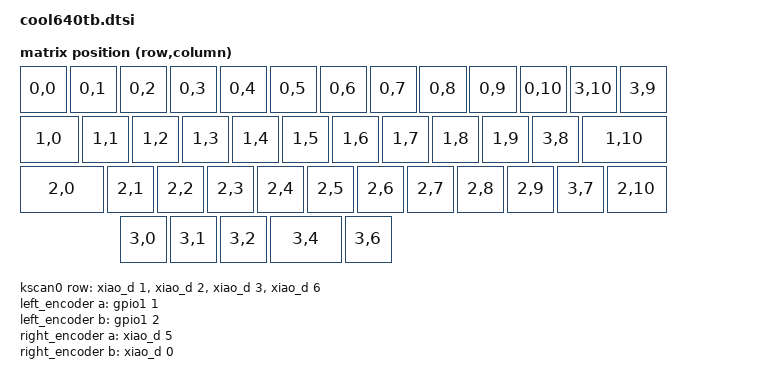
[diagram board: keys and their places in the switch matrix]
#include <dt-bindings/zmk/matrix_transform.h>
#include <physical_layouts.dtsi>

/ {
    chosen {
        zmk,kscan = &kscan0;
        zmk,matrix_transform = &default_transform;
    };
/ {
    chosen {
        zmk,physical-layout = &cool942tb_physical_layout;
    };
    
    cool942tb_physical_layout: cool942tb_physical_layout {
        compatible = "zmk,physical-layout";
        display-name = "Default";
        transform = <&default_transform>;
        kscan = <&kscan0>;

        keys  //                     w   h    x    y     rot    rx    ry
            = <&key_physical_attrs 100 100    0    0       0     0     0>
            , <&key_physical_attrs 100 100  100    0       0     0     0>
            , <&key_physical_attrs 100 100  200    0       0     0     0>
            , <&key_physical_attrs 100 100  300    0       0     0     0>
            , <&key_physical_attrs 100 100  400    0       0     0     0>
            , <&key_physical_attrs 100 100  500    0       0     0     0>

            , <&key_physical_attrs 100 100  600    0       0     0     0>
            , <&key_physical_attrs 100 100  700    0       0     0     0>
            , <&key_physical_attrs 100 100  800    0       0     0     0>
            , <&key_physical_attrs 100 100  900    0       0     0     0>
            , <&key_physical_attrs 100 100 1000    0       0     0     0>
            , <&key_physical_attrs 100 100 1100    0       0     0     0>
            , <&key_physical_attrs 100 100 1200    0       0     0     0>

            , <&key_physical_attrs 125 100    0    100     0     0     0>
            , <&key_physical_attrs 100 100  125    100     0     0     0>
            , <&key_physical_attrs 100 100  225    100     0     0     0>
            , <&key_physical_attrs 100 100  325    100     0     0     0>
            , <&key_physical_attrs 100 100  425    100     0     0     0>
            , <&key_physical_attrs 100 100  525    100     0     0     0>
            , <&key_physical_attrs 100 100  625    100     0     0     0>
            , <&key_physical_attrs 100 100  725    100     0     0     0>
            , <&key_physical_attrs 100 100  825    100     0     0     0>
            , <&key_physical_attrs 100 100  925    100     0     0     0>
            , <&key_physical_attrs 100 100 1025    100     0     0     0>
            , <&key_physical_attrs 175 100 1125    100     0     0     0>

            , <&key_physical_attrs 175 100    0    200     0     0     0>
            , <&key_physical_attrs 100 100  175    200     0     0     0>
            , <&key_physical_attrs 100 100  275    200     0     0     0>
            , <&key_physical_attrs 100 100  375    200     0     0     0>
            , <&key_physical_attrs 100 100  475    200     0     0     0>
            , <&key_physical_attrs 100 100  575    200     0     0     0>
            , <&key_physical_attrs 100 100  675    200     0     0     0>
            , <&key_physical_attrs 100 100  775    200     0     0     0>
            , <&key_physical_attrs 100 100  875    200     0     0     0>
            , <&key_physical_attrs 100 100  975    200     0     0     0>
            , <&key_physical_attrs 100 100 1075    200     0     0     0>
            , <&key_physical_attrs 125 100 1175    200     0     0     0>

            , <&key_physical_attrs 100 100  200    300     0     0     0>
            , <&key_physical_attrs 100 100  300    300     0     0     0>
            , <&key_physical_attrs 100 100  400    300     0     0     0>
            , <&key_physical_attrs 150 100  500    300     0     0     0>
            , <&key_physical_attrs 100 100  650    300     0     0     0>
            ;
    };


    default_transform: keymap_transform_0 {
        compatible = "zmk,matrix-transform";
        columns = <11>;
        rows = <4>;               
        map = <
            RC(0,0) RC(0,1) RC(0,2) RC(0,3) RC(0,4) RC(0,5)     RC(0,6) RC(0,7) RC(0,8) RC(0,9) RC(0,10) RC(3,10) RC(3,9)
            RC(1,0) RC(1,1) RC(1,2) RC(1,3) RC(1,4) RC(1,5)     RC(1,6) RC(1,7) RC(1,8) RC(1,9) RC(3,8)  RC(1,10)
            RC(2,0) RC(2,1) RC(2,2) RC(2,3) RC(2,4) RC(2,5)     RC(2,6) RC(2,7) RC(2,8) RC(2,9) RC(3,7)  RC(2,10)
            RC(3,0) RC(3,1) RC(3,2)         RC(3,4)             RC(3,6)          
        >;
    };
    
    kscan0: kscan {
        compatible = "zmk,kscan-gpio-matrix";
        label = "KSCAN";
        diode-direction = "col2row";
            row-gpios
                = <&xiao_d 1 (GPIO_ACTIVE_HIGH | GPIO_PULL_DOWN)> 
                , <&xiao_d 2 (GPIO_ACTIVE_HIGH | GPIO_PULL_DOWN)> 
                , <&xiao_d 3 (GPIO_ACTIVE_HIGH | GPIO_PULL_DOWN)> 
                , <&xiao_d 6 (GPIO_ACTIVE_HIGH | GPIO_PULL_DOWN)> 			
                ;
    };

    left_encoder: encoder_left {
       compatible = "alps,ec11";
        a-gpios = <&gpio1 1 (GPIO_ACTIVE_HIGH | GPIO_PULL_DOWN)>;
        b-gpios = <&gpio1 2 (GPIO_ACTIVE_HIGH | GPIO_PULL_DOWN)>;
        steps = <24>;
        status = "disabled";
    };

    right_encoder: encoder_right {
        compatible = "alps,ec11";
        a-gpios = <&xiao_d 5 (GPIO_ACTIVE_HIGH | GPIO_PULL_UP)>;
        b-gpios = <&xiao_d 0 (GPIO_ACTIVE_HIGH | GPIO_PULL_UP)>;
        steps = <24>;
        status = "disabled";
    };

    sensors: sensors {
        compatible = "zmk,keymap-sensors";
        sensors = <&right_encoder>;
        triggers-per-rotation = <10>;
    };
};
